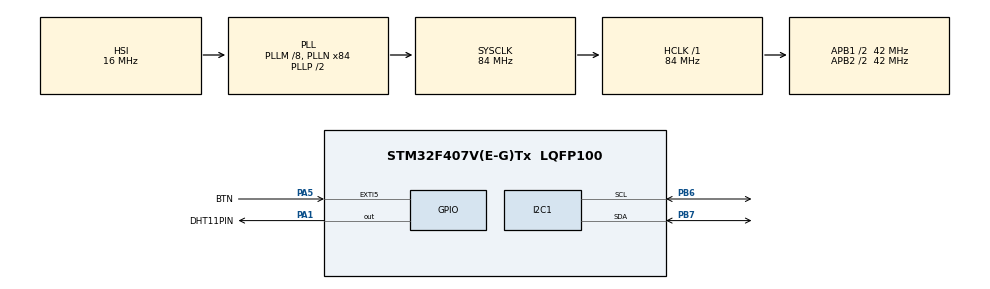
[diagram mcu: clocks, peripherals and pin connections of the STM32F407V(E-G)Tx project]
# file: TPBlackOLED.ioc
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I2C1.I2C_Mode=I2C_Fast
Mcu.Family=STM32F4
Mcu.Name=STM32F407V(E-G)Tx
Mcu.Package=LQFP100
NVIC.EXTI9_5_IRQn=true\:0\:0\:false\:false\:true\:true\:true
NVIC.PriorityGroup=NVIC_PRIORITYGROUP_4
PA1.GPIO_Label=DHT11PIN
PA1.Signal=GPIO_Output
PA13.Mode=Serial_Wire
PA13.Signal=SYS_JTMS-SWDIO
PA14.Mode=Serial_Wire
PA14.Signal=SYS_JTCK-SWCLK
PA5.GPIO_Label=BTN
PA5.GPIO_PuPd=GPIO_PULLUP
PA5.Signal=GPXTI5
PB6.Mode=I2C
PB6.Signal=I2C1_SCL
PB7.Mode=I2C
PB7.Signal=I2C1_SDA
PH0-OSC_IN.Mode=HSE-External-Oscillator
PH0-OSC_IN.Signal=RCC_OSC_IN
PH1-OSC_OUT.Mode=HSE-External-Oscillator
PH1-OSC_OUT.Signal=RCC_OSC_OUT
ProjectManager.HeapSize=0x200
ProjectManager.StackSize=0x400
ProjectManager.TargetToolchain=SW4STM32
RCC.48MHZClocksFreq_Value=42000000
RCC.AHBFreq_Value=84000000
RCC.APB1CLKDivider=RCC_HCLK_DIV2
RCC.APB1Freq_Value=42000000
RCC.APB1TimFreq_Value=84000000
RCC.APB2CLKDivider=RCC_HCLK_DIV2
RCC.APB2Freq_Value=42000000
RCC.APB2TimFreq_Value=84000000
RCC.CortexFreq_Value=84000000
RCC.HCLKFreq_Value=84000000
RCC.HSE_VALUE=25000000
RCC.HSI_VALUE=16000000
RCC.LSE_VALUE=32768
RCC.PLLM=8
RCC.PLLN=84
RCC.SYSCLKFreq_VALUE=84000000
RCC.SYSCLKSource=RCC_SYSCLKSOURCE_PLLCLK
RCC.VCOOutputFreq_Value=168000000
TIM1.Period=0xffff-1
TIM1.Prescaler=84-1
VP_TIM1_VS_ClockSourceINT.Mode=Internal
board=custom

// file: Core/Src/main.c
/* USER CODE BEGIN Header */
/**
  ******************************************************************************
  * @file           : main.c
  * @brief          : Main program body
  ******************************************************************************
  * @attention
  *
  * <h2><center>&copy; Copyright (c) 2021 STMicroelectronics.
  * All rights reserved.</center></h2>
  *
  * This software component is licensed by ST under BSD 3-Clause license,
  * the "License"; You may not use this file except in compliance with the
  * License. You may obtain a copy of the License at:
  *                        opensource.org/licenses/BSD-3-Clause
  *
  ******************************************************************************
  */
/* USER CODE END Header */
#include "main.h"

/* USER CODE BEGIN Includes */
#include "dht11.h"
#include "ssd1306.h"
#include "fonts.h"
/* USER CODE END Includes */

I2C_HandleTypeDef hi2c1;

TIM_HandleTypeDef htim1;

void SystemClock_Config(void);
static void MX_GPIO_Init(void);
static void MX_TIM1_Init(void);
static void MX_I2C1_Init(void);

/* USER CODE BEGIN 0 */
DHT11_struct Dstruct;
/* USER CODE END 0 */

int main(void)
{
  /* USER CODE BEGIN 1 */
  char buffer [20];

  /* USER CODE END 1 */

  /* MCU Configuration--------------------------------------------------------*/

  /* Reset of all peripherals, Initializes the Flash interface and the Systick. */
  HAL_Init();

  /* Configure the system clock */
  SystemClock_Config();

  /* Initialize all configured peripherals */
  MX_GPIO_Init();
  MX_TIM1_Init();
  MX_I2C1_Init();
  /* USER CODE BEGIN 2 */
  HAL_TIM_Base_Start(&htim1);
  DHT11_init(GPIOA, GPIO_PIN_1);

  SSD1306_Init();
  SSD1306_GotoXY (0,0);
  SSD1306_Puts (" STARTING", &Font_11x18, 1);
  SSD1306_UpdateScreen();
  HAL_Delay(2000);
  SSD1306_Init();
  /* USER CODE END 2 */

  /* Infinite loop */
  while (1)
  {

    /* USER CODE BEGIN 3 */
		DHT11_rawread();
		SSD1306_Init();
		sprintf(buffer, "DHT11_rawread()");
		SSD1306_GotoXY (10, 5);
		SSD1306_Puts (buffer, &Font_7x10, 1);
		sprintf(buffer, "TEMP=%d,%dC", Dstruct.tempInt, Dstruct.tempDec);
		SSD1306_GotoXY (10, 25);
		SSD1306_Puts (buffer, &Font_7x10, 1);
		sprintf(buffer, "RH=%d o/o ", Dstruct.rhInt);
		SSD1306_GotoXY (10, 45);
		SSD1306_Puts (buffer, &Font_7x10, 1);
		SSD1306_DrawRectangle(1,1,126,62,1);
		SSD1306_UpdateScreen();
		HAL_Delay (3000);

		SSD1306_Init();
		sprintf(buffer, "DHT11_tempInt()");
		SSD1306_GotoXY (10, 5);
		SSD1306_Puts (buffer, &Font_7x10, 1);
		uint8_t tempInt_t, tempDec_t;
		tempInt_t = DHT_tempInt();
		tempDec_t =
		sprintf(buffer, "TEMP=%d C", DHT11_tempInt());
		SSD1306_GotoXY (10, 25);
		SSD1306_Puts (buffer, &Font_7x10, 1);
		SSD1306_DrawRectangle(1,1,126,62,1);
		SSD1306_UpdateScreen();
		HAL_Delay(3000);

		SSD1306_Init();
		sprintf(buffer, "DHT11_rh()");
		SSD1306_GotoXY (10, 5);
		SSD1306_Puts (buffer, &Font_7x10, 1);
		sprintf(buffer, "RH=%d o/o", DHT11_rh());
		SSD1306_GotoXY (10, 25);
		SSD1306_Puts (buffer, &Font_7x10, 1);
		SSD1306_DrawRectangle(1,1,126,62,1);
		SSD1306_UpdateScreen();
		HAL_Delay(3000);

		SSD1306_Init();
		sprintf(buffer, "DHT11_dewpoint()");
		SSD1306_GotoXY (10, 5);
		SSD1306_Puts (buffer, &Font_7x10, 1);
		sprintf(buffer, "DP=%d/10 C", (uint16_t)(10*DHT11_dewpoint()));
		SSD1306_GotoXY (10, 25);
		SSD1306_Puts (buffer, &Font_7x10, 1);
		SSD1306_DrawRectangle(1,1,126,62,1);
		SSD1306_UpdateScreen();
		HAL_Delay(3000);

		SSD1306_Init();
		sprintf(buffer, "DHT11_ah()");
		SSD1306_GotoXY (10, 5);
		SSD1306_Puts (buffer, &Font_7x10, 1);
		sprintf(buffer, "AH=%d/100 g/m3", (uint16_t)(100*DHT11_ah()));
		SSD1306_GotoXY (10, 25);
		SSD1306_Puts (buffer, &Font_7x10, 1);
		SSD1306_DrawRectangle(1,1,126,62,1);
		SSD1306_UpdateScreen();
		HAL_Delay(3000);
  }
  /* USER CODE END 3 */
}

void SystemClock_Config(void)
{
  RCC_OscInitTypeDef RCC_OscInitStruct = {0};
  RCC_ClkInitTypeDef RCC_ClkInitStruct = {0};

  /** Configure the main internal regulator output voltage
  */
  __HAL_RCC_PWR_CLK_ENABLE();
  __HAL_PWR_VOLTAGESCALING_CONFIG(PWR_REGULATOR_VOLTAGE_SCALE1);
  /** Initializes the RCC Oscillators according to the specified parameters
  * in the RCC_OscInitTypeDef structure.
  */
  RCC_OscInitStruct.OscillatorType = RCC_OSCILLATORTYPE_HSI;
  RCC_OscInitStruct.HSIState = RCC_HSI_ON;
  RCC_OscInitStruct.HSICalibrationValue = RCC_HSICALIBRATION_DEFAULT;
  RCC_OscInitStruct.PLL.PLLState = RCC_PLL_ON;
  RCC_OscInitStruct.PLL.PLLSource = RCC_PLLSOURCE_HSI;
  RCC_OscInitStruct.PLL.PLLM = 8;
  RCC_OscInitStruct.PLL.PLLN = 84;
  RCC_OscInitStruct.PLL.PLLP = RCC_PLLP_DIV2;
  RCC_OscInitStruct.PLL.PLLQ = 4;
  if (HAL_RCC_OscConfig(&RCC_OscInitStruct) != HAL_OK)
  {
    Error_Handler();
  }
  /** Initializes the CPU, AHB and APB buses clocks
  */
  RCC_ClkInitStruct.ClockType = RCC_CLOCKTYPE_HCLK|RCC_CLOCKTYPE_SYSCLK
                              |RCC_CLOCKTYPE_PCLK1|RCC_CLOCKTYPE_PCLK2;
  RCC_ClkInitStruct.SYSCLKSource = RCC_SYSCLKSOURCE_PLLCLK;
  RCC_ClkInitStruct.AHBCLKDivider = RCC_SYSCLK_DIV1;
  RCC_ClkInitStruct.APB1CLKDivider = RCC_HCLK_DIV2;
  RCC_ClkInitStruct.APB2CLKDivider = RCC_HCLK_DIV2;

  if (HAL_RCC_ClockConfig(&RCC_ClkInitStruct, FLASH_LATENCY_2) != HAL_OK)
  {
    Error_Handler();
  }
}

static void MX_I2C1_Init(void)
{

  hi2c1.Instance = I2C1;
  hi2c1.Init.ClockSpeed = 400000;
  hi2c1.Init.DutyCycle = I2C_DUTYCYCLE_2;
  hi2c1.Init.OwnAddress1 = 0;
  hi2c1.Init.AddressingMode = I2C_ADDRESSINGMODE_7BIT;
  hi2c1.Init.DualAddressMode = I2C_DUALADDRESS_DISABLE;
  hi2c1.Init.OwnAddress2 = 0;
  hi2c1.Init.GeneralCallMode = I2C_GENERALCALL_DISABLE;
  hi2c1.Init.NoStretchMode = I2C_NOSTRETCH_DISABLE;
  if (HAL_I2C_Init(&hi2c1) != HAL_OK)
  {
    Error_Handler();
  }

}

static void MX_TIM1_Init(void)
{

  TIM_ClockConfigTypeDef sClockSourceConfig = {0};
  TIM_MasterConfigTypeDef sMasterConfig = {0};

  htim1.Instance = TIM1;
  htim1.Init.Prescaler = 84-1;
  htim1.Init.CounterMode = TIM_COUNTERMODE_UP;
  htim1.Init.Period = 0xffff-1;
  htim1.Init.ClockDivision = TIM_CLOCKDIVISION_DIV1;
  htim1.Init.RepetitionCounter = 0;
  htim1.Init.AutoReloadPreload = TIM_AUTORELOAD_PRELOAD_DISABLE;
  if (HAL_TIM_Base_Init(&htim1) != HAL_OK)
  {
    Error_Handler();
  }
  sClockSourceConfig.ClockSource = TIM_CLOCKSOURCE_INTERNAL;
  if (HAL_TIM_ConfigClockSource(&htim1, &sClockSourceConfig) != HAL_OK)
  {
    Error_Handler();
  }
  sMasterConfig.MasterOutputTrigger = TIM_TRGO_RESET;
  sMasterConfig.MasterSlaveMode = TIM_MASTERSLAVEMODE_DISABLE;
  if (HAL_TIMEx_MasterConfigSynchronization(&htim1, &sMasterConfig) != HAL_OK)
  {
    Error_Handler();
  }

}

static void MX_GPIO_Init(void)
{
  GPIO_InitTypeDef GPIO_InitStruct = {0};

  /* GPIO Ports Clock Enable */
  __HAL_RCC_GPIOH_CLK_ENABLE();
  __HAL_RCC_GPIOA_CLK_ENABLE();
  __HAL_RCC_GPIOB_CLK_ENABLE();

  /*Configure GPIO pin Output Level */
  HAL_GPIO_WritePin(DHT11PIN_GPIO_Port, DHT11PIN_Pin, GPIO_PIN_RESET);

  /*Configure GPIO pin : DHT11PIN_Pin */
  GPIO_InitStruct.Pin = DHT11PIN_Pin;
  GPIO_InitStruct.Mode = GPIO_MODE_OUTPUT_PP;
  GPIO_InitStruct.Pull = GPIO_NOPULL;
  GPIO_InitStruct.Speed = GPIO_SPEED_FREQ_LOW;
  HAL_GPIO_Init(DHT11PIN_GPIO_Port, &GPIO_InitStruct);

  /*Configure GPIO pin : BTN_Pin */
  GPIO_InitStruct.Pin = BTN_Pin;
  GPIO_InitStruct.Mode = GPIO_MODE_IT_RISING;
  GPIO_InitStruct.Pull = GPIO_PULLUP;
  HAL_GPIO_Init(BTN_GPIO_Port, &GPIO_InitStruct);

  /* EXTI interrupt init*/
  HAL_NVIC_SetPriority(EXTI9_5_IRQn, 0, 0);
  HAL_NVIC_EnableIRQ(EXTI9_5_IRQn);

}

void Error_Handler(void)
{
  __disable_irq();
  while (1)
  {
  }
}

/************************ (C) COPYRIGHT STMicroelectronics *****END OF FILE****/
